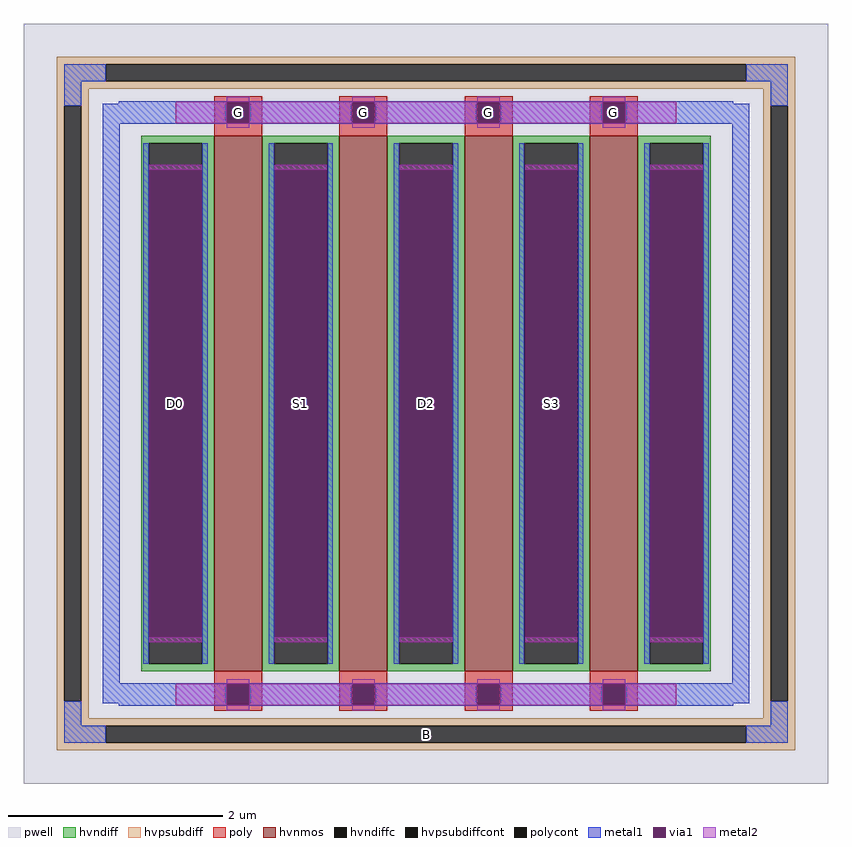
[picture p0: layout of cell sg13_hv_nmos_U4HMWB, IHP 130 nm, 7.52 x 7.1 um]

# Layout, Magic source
magic
tech ihp-sg13cmos5l
magscale 1 2
<< pwell >>
rect -752 -710 752 710
<< hvnmos >>
rect -396 -500 -306 500
rect -162 -500 -72 500
rect 72 -500 162 500
rect 306 -500 396 500
<< hvndiff >>
rect -532 486 -396 500
rect -532 -486 -518 486
rect -418 -486 -396 486
rect -532 -500 -396 -486
rect -306 486 -162 500
rect -306 -486 -284 486
rect -184 -486 -162 486
rect -306 -500 -162 -486
rect -72 486 72 500
rect -72 -486 -50 486
rect 50 -486 72 486
rect -72 -500 72 -486
rect 162 486 306 500
rect 162 -486 184 486
rect 284 -486 306 486
rect 162 -500 306 -486
rect 396 486 532 500
rect 396 -486 418 486
rect 518 -486 532 486
rect 396 -500 532 -486
<< hvndiffc >>
rect -518 -486 -418 486
rect -284 -486 -184 486
rect -50 -486 50 486
rect 184 -486 284 486
rect 418 -486 518 486
<< hvpsubdiff >>
rect -690 634 690 648
rect -690 602 -598 634
rect 598 602 690 634
rect -690 588 690 602
rect -690 556 -630 588
rect -690 -556 -676 556
rect -644 -556 -630 556
rect 630 556 690 588
rect -690 -588 -630 -556
rect 630 -556 644 556
rect 676 -556 690 556
rect 630 -588 690 -556
rect -690 -602 690 -588
rect -690 -634 -598 -602
rect 598 -634 690 -602
rect -690 -648 690 -634
<< hvpsubdiffcont >>
rect -598 602 598 634
rect -676 -556 -644 556
rect 644 -556 676 556
rect -598 -634 598 -602
<< poly >>
rect -396 560 -306 574
rect -396 528 -374 560
rect -328 528 -306 560
rect -396 500 -306 528
rect -162 560 -72 574
rect -162 528 -140 560
rect -94 528 -72 560
rect -162 500 -72 528
rect 72 560 162 574
rect 72 528 94 560
rect 140 528 162 560
rect 72 500 162 528
rect 306 560 396 574
rect 306 528 328 560
rect 374 528 396 560
rect 306 500 396 528
rect -396 -528 -306 -500
rect -396 -560 -374 -528
rect -328 -560 -306 -528
rect -396 -574 -306 -560
rect -162 -528 -72 -500
rect -162 -560 -140 -528
rect -94 -560 -72 -528
rect -162 -574 -72 -560
rect 72 -528 162 -500
rect 72 -560 94 -528
rect 140 -560 162 -528
rect 72 -574 162 -560
rect 306 -528 396 -500
rect 306 -560 328 -528
rect 374 -560 396 -528
rect 306 -574 396 -560
<< polycont >>
rect -374 528 -328 560
rect -140 528 -94 560
rect 94 528 140 560
rect 328 528 374 560
rect -374 -560 -328 -528
rect -140 -560 -94 -528
rect 94 -560 140 -528
rect 328 -560 374 -528
<< metal1 >>
rect -676 602 -598 634
rect 598 602 676 634
rect -676 556 -644 602
rect -574 564 574 565
rect -574 560 -372 564
rect -330 560 -138 564
rect -96 560 96 564
rect 138 560 330 564
rect 372 560 574 564
rect -676 -602 -644 -556
rect -604 528 -374 560
rect -328 528 -140 560
rect -94 528 94 560
rect 140 528 328 560
rect 374 528 604 560
rect -604 524 -372 528
rect -330 524 -138 528
rect -96 524 96 528
rect 138 524 330 528
rect 372 524 604 528
rect -604 523 604 524
rect -604 -523 -572 523
rect -528 -486 -518 486
rect -418 -486 -408 486
rect -294 -486 -284 486
rect -184 -486 -174 486
rect -60 -486 -50 486
rect 50 -486 60 486
rect 174 -486 184 486
rect 284 -486 294 486
rect 408 -486 418 486
rect 518 -486 528 486
rect 572 -523 604 523
rect -604 -524 604 -523
rect -604 -528 -372 -524
rect -330 -528 -138 -524
rect -96 -528 96 -524
rect 138 -528 330 -524
rect 372 -528 604 -524
rect -604 -560 -374 -528
rect -328 -560 -140 -528
rect -94 -560 94 -528
rect 140 -560 328 -528
rect 374 -560 604 -528
rect 644 556 676 602
rect -574 -564 -372 -560
rect -330 -564 -138 -560
rect -96 -564 96 -560
rect 138 -564 330 -560
rect 372 -564 574 -560
rect -574 -565 574 -564
rect 644 -602 676 -556
rect -676 -634 -598 -602
rect 598 -634 676 -602
<< via1 >>
rect -372 560 -330 564
rect -138 560 -96 564
rect 96 560 138 564
rect 330 560 372 564
rect -372 528 -330 560
rect -138 528 -96 560
rect 96 528 138 560
rect 330 528 372 560
rect -372 524 -330 528
rect -138 524 -96 528
rect 96 524 138 528
rect 330 524 372 528
rect -517 -437 -419 437
rect -283 -437 -185 437
rect -49 -437 49 437
rect 185 -437 283 437
rect 419 -437 517 437
rect -372 -528 -330 -524
rect -138 -528 -96 -524
rect 96 -528 138 -524
rect 330 -528 372 -524
rect -372 -560 -330 -528
rect -138 -560 -96 -528
rect 96 -560 138 -528
rect 330 -560 372 -528
rect -372 -564 -330 -560
rect -138 -564 -96 -560
rect 96 -564 138 -560
rect 330 -564 372 -560
<< metal2 >>
rect -372 564 -330 573
rect -138 564 -96 573
rect 96 564 138 573
rect 330 564 372 573
rect -468 524 -372 564
rect -330 524 -138 564
rect -96 524 96 564
rect 138 524 330 564
rect 372 524 468 564
rect -372 515 -330 524
rect -138 515 -96 524
rect 96 515 138 524
rect 330 515 372 524
rect -517 437 -419 446
rect -517 -446 -419 -437
rect -283 437 -185 446
rect -283 -446 -185 -437
rect -49 437 49 446
rect -49 -446 49 -437
rect 185 437 283 446
rect 185 -446 283 -437
rect 419 437 517 446
rect 419 -446 517 -437
rect -372 -524 -330 -515
rect -138 -524 -96 -515
rect 96 -524 138 -515
rect 330 -524 372 -515
rect -468 -564 -372 -524
rect -330 -564 -138 -524
rect -96 -564 96 -524
rect 138 -564 330 -524
rect 372 -564 468 -524
rect -372 -573 -330 -564
rect -138 -573 -96 -564
rect 96 -573 138 -564
rect 330 -573 372 -564
<< labels >>
rlabel hvpsubdiffcont 0 -618 0 -618 0 B
port 1 nsew
rlabel hvndiffc -468 0 -468 0 0 D0
port 2 nsew
rlabel polycont -351 544 -351 544 0 G
port 3 nsew
rlabel hvndiffc -234 0 -234 0 0 S1
port 4 nsew
rlabel polycont -117 544 -117 544 0 G
port 3 nsew
rlabel hvndiffc 0 0 0 0 0 D2
port 5 nsew
rlabel polycont 117 544 117 544 0 G
port 3 nsew
rlabel hvndiffc 234 0 234 0 0 S3
port 6 nsew
rlabel polycont 351 544 351 544 0 G
port 3 nsew
<< properties >>
string FIXED_BBOX -660 -618 660 618
string gencell sg13_hv_nmos
string library sg13cmos5l
string parameters w 5 l 0.45 m 1 ng 4 diffcov 100 polycov 100 guard 1 glc 1 grc 1 gtc 1 gbc 1 tbcov 100 rlcov 100 topc 1 botc 1 poverlap 1 doverlap 1 lmin 0.45 wmin 0.15 class mosfet compatible {sg13_lv_nmos sg13_hv_nmos} full_metal 1 conn_gates 1 gate_ring 1 doports 1 viasrc 90 viadrn 90 viagate 90 ccols 2 viagb 0 viagr 0 viagl 0 viagt 0
<< end >>
